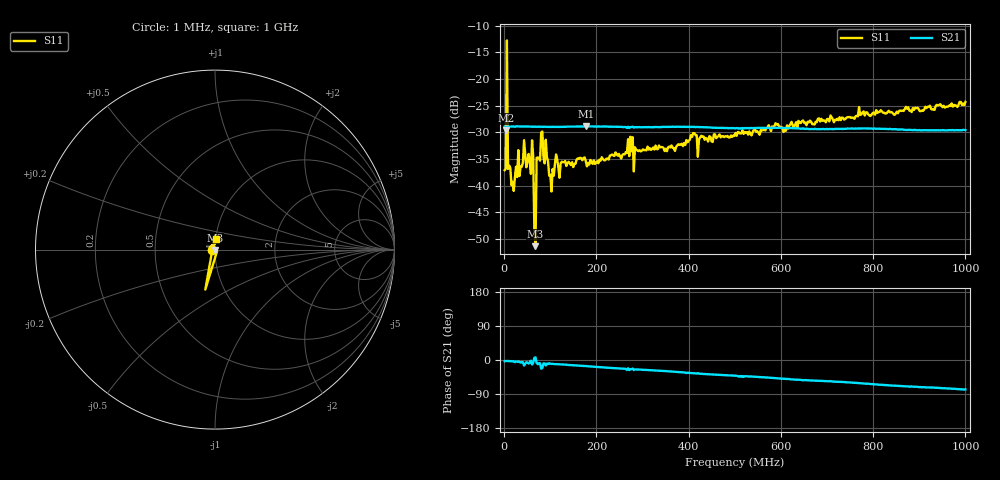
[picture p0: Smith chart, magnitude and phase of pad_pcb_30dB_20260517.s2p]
# HZ S RI R 50
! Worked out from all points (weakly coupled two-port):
!   404 points, 1 MHz to 1 GHz, reference 50 ohm
!   highest |S21| = -28.85 dB at 177 MHz (marker M1); lowest = -29.6 dB at 3.479 MHz (marker M2)
!   lowest |S11| = -51.3 dB at 67.93 MHz (marker M3), VSWR 1.01, Z = 50 - j0.27 ohm
!   |S11| at or under -10 dB: start of sweep to end of sweep
!   S12 and S22 are empty: the file has one direction only
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1000000  -0.014 0.000527  0.0357 -0.00178  0 0  0 0
3478908  0.0121 -0.00774  0.0329 -0.00167  0 0  0 0
1.091563e7  -0.0153 0.00212  0.0357 -0.00184  0 0  0 0
1.339454e7  -0.0144 0.00301  0.0358 -0.00198  0 0  0 0
1.835236e7  -0.0108 0.0017  0.0359 -0.00225  0 0  0 0
4.809925e7  -0.0134 0.00645  0.0356 -0.00373  0 0  0 0
5.801488e7  -0.0114 0.00596  0.0358 -0.0011  0 0  0 0
6.29727e7  -0.0158 0.0103  0.0355 -0.00451  0 0  0 0
6.793052e7  0.000249 -0.0027  0.0355 0.0043  0 0  0 0
7.040942e7  -0.0173 0.0058  0.0354 -0.00487  0 0  0 0
7.536724e7  -0.0176 0.00479  0.0354 -0.00515  0 0  0 0
8.528287e7  -0.0161 0.00927  0.0352 -0.00548  0 0  0 0
1.026352e8  -0.0073 0.00496  0.035 -0.0063  0 0  0 0
1.10072e8  -0.0144 0.00683  0.035 -0.00668  0 0  0 0
1.695657e8  -0.0138 0.0105  0.0346 -0.00967  0 0  0 0
1.770025e8  -0.014 0.00957  0.0347 -0.0099  0 0  0 0
2.736799e8  -0.0192 0.0215  0.0323 -0.0144  0 0  0 0
3.356526e8  -0.0133 0.0198  0.0311 -0.0168  0 0  0 0
5.017394e8  -0.00706 0.0304  0.0258 -0.0228  0 0  0 0
6.678263e8  -0.00355 0.0376  0.02 -0.0275  0 0  0 0
8.339131e8  -0.00197 0.0503  0.0132 -0.0312  0 0  0 0
9.999999e8  0.00623 0.0607  0.007 -0.0325  0 0  0 0
